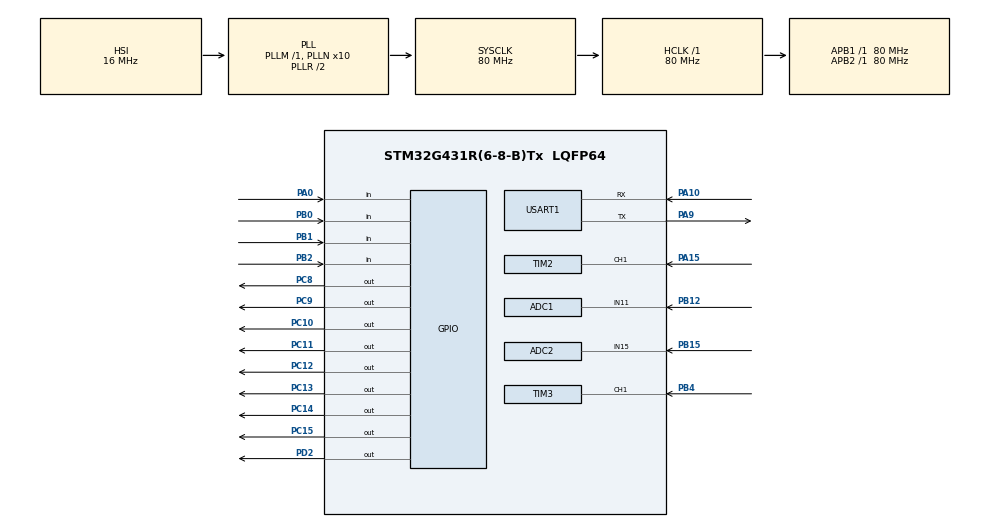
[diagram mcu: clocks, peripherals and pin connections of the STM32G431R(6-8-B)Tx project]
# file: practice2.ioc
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ADC1.Channel-0\#ChannelRegularConversion=ADC_CHANNEL_11
ADC1.NbrOfConversionFlag=1
ADC1.OffsetNumber-0\#ChannelRegularConversion=ADC_OFFSET_NONE
ADC1.Rank-0\#ChannelRegularConversion=1
ADC1.SamplingTime-0\#ChannelRegularConversion=ADC_SAMPLETIME_2CYCLES_5
ADC1.master=1
ADC2.Channel-0\#ChannelRegularConversion=ADC_CHANNEL_15
ADC2.NbrOfConversionFlag=1
ADC2.OffsetNumber-0\#ChannelRegularConversion=ADC_OFFSET_NONE
ADC2.Rank-0\#ChannelRegularConversion=1
ADC2.SamplingTime-0\#ChannelRegularConversion=ADC_SAMPLETIME_2CYCLES_5
Mcu.Family=STM32G4
Mcu.Name=STM32G431R(6-8-B)Tx
Mcu.Package=LQFP64
NVIC.PriorityGroup=NVIC_PRIORITYGROUP_4
NVIC.TIM1_UP_TIM16_IRQn=true\:0\:0\:false\:false\:true\:true\:true\:true
NVIC.TIM2_IRQn=true\:0\:0\:false\:false\:true\:true\:true\:true
NVIC.TIM3_IRQn=true\:0\:0\:false\:false\:true\:true\:true\:true
PA0.Signal=GPIO_Input
PA10.Mode=Asynchronous
PA10.Signal=USART1_RX
PA13.Mode=Serial_Wire
PA13.Signal=SYS_JTMS-SWDIO
PA14.Mode=Serial_Wire
PA14.Signal=SYS_JTCK-SWCLK
PA15.Signal=S_TIM2_CH1
PA9.Mode=Asynchronous
PA9.Signal=USART1_TX
PB0.Signal=GPIO_Input
PB1.Signal=GPIO_Input
PB12.Mode=IN11-Single-Ended
PB12.Signal=ADC1_IN11
PB15.Mode=IN15-Single-Ended
PB15.Signal=ADC2_IN15
PB2.Signal=GPIO_Input
PB4.Signal=S_TIM3_CH1
PC10.PinState=GPIO_PIN_SET
PC10.Signal=GPIO_Output
PC11.PinState=GPIO_PIN_SET
PC11.Signal=GPIO_Output
PC12.PinState=GPIO_PIN_SET
PC12.Signal=GPIO_Output
PC13.PinState=GPIO_PIN_SET
PC13.Signal=GPIO_Output
PC14-OSC32_IN.PinState=GPIO_PIN_SET
PC14-OSC32_IN.Signal=GPIO_Output
PC15-OSC32_OUT.PinState=GPIO_PIN_SET
PC15-OSC32_OUT.Signal=GPIO_Output
PC8.PinState=GPIO_PIN_SET
PC8.Signal=GPIO_Output
PC9.PinState=GPIO_PIN_SET
PC9.Signal=GPIO_Output
PD2.PinState=GPIO_PIN_SET
PD2.Signal=GPIO_Output
PF0-OSC_IN.Mode=HSE-External-Oscillator
PF0-OSC_IN.Signal=RCC_OSC_IN
PF1-OSC_OUT.Mode=HSE-External-Oscillator
PF1-OSC_OUT.Signal=RCC_OSC_OUT
ProjectManager.HeapSize=0x200
ProjectManager.StackSize=0x400
ProjectManager.TargetToolchain=MDK-ARM V5.32
RCC.ADC12Freq_Value=80000000
RCC.AHBFreq_Value=80000000
RCC.APB1Freq_Value=80000000
RCC.APB1TimFreq_Value=80000000
RCC.APB2Freq_Value=80000000
RCC.APB2TimFreq_Value=80000000
RCC.CortexFreq_Value=80000000
RCC.EXTERNAL_CLOCK_VALUE=12288000
RCC.HCLKFreq_Value=80000000
RCC.HSE_VALUE=24000000
RCC.HSI48_VALUE=48000000
RCC.HSI_VALUE=16000000
RCC.LSE_VALUE=32768
RCC.PLLN=10
RCC.SYSCLKFreq_VALUE=80000000
RCC.SYSCLKSource=RCC_SYSCLKSOURCE_PLLCLK
RCC.USBFreq_Value=80000000
RCC.VCOOutputFreq_Value=160000000
SH.S_TIM2_CH1.0=TIM2_CH1,Input_Capture1_from_TI1
SH.S_TIM3_CH1.0=TIM3_CH1,Input_Capture1_from_TI1
TIM16.PeriodNoDither=1000-1
TIM16.Prescaler=8000-1
TIM2.Channel-Input_Capture1_from_TI1=TIM_CHANNEL_1
TIM2.Prescaler=80-1
TIM3.Channel-Input_Capture1_from_TI1=TIM_CHANNEL_1
TIM3.Prescaler=80-1
USART1.VirtualMode-Asynchronous=VM_ASYNC
VP_SYS_VS_DBSignals.Mode=DisableDeadBatterySignals
VP_TIM16_VS_ClockSourceINT.Mode=Enable_Timer
VP_TIM2_VS_ClockSourceINT.Mode=Internal
VP_TIM3_VS_ClockSourceINT.Mode=Internal
board=custom

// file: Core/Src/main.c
/* USER CODE BEGIN Header */
/**
  ******************************************************************************
  * @file           : main.c
  * @brief          : Main program body
  ******************************************************************************
  * @attention
  *
  * Copyright (c) 2025 STMicroelectronics.
  * All rights reserved.
  *
  * This software is licensed under terms that can be found in the LICENSE file
  * in the root directory of this software component.
  * If no LICENSE file comes with this software, it is provided AS-IS.
  *
  ******************************************************************************
  */
/* USER CODE END Header */
#include "main.h"
#include "adc.h"
#include "tim.h"
#include "usart.h"
#include "gpio.h"

/* USER CODE BEGIN Includes */
#include "headfile.h"
/* USER CODE END Includes */

void SystemClock_Config(void);

int main(void)
{

  /* MCU Configuration--------------------------------------------------------*/

  /* Reset of all peripherals, Initializes the Flash interface and the Systick. */
  HAL_Init();

  /* Configure the system clock */
  SystemClock_Config();

  /* Initialize all configured peripherals */
  MX_GPIO_Init();
  MX_TIM16_Init();
  MX_TIM2_Init();
  MX_TIM3_Init();
  MX_ADC1_Init();
  MX_ADC2_Init();
  MX_USART1_UART_Init();
  /* USER CODE BEGIN 2 */
	HAL_TIM_Base_Start_IT(&htim16);
	HAL_GPIO_WritePin(GPIOD,GPIO_PIN_2,GPIO_PIN_RESET);
	HAL_TIM_IC_Start_IT(&htim2,TIM_CHANNEL_1);
	HAL_TIM_IC_Start_IT(&htim3,TIM_CHANNEL_1);
	LCD_Init();
	LCD_Clear(Black);
	LCD_SetBackColor(Black);
	LCD_SetTextColor(White);
	 draw_axes();
	eeprom_write(1,13);
	eeprom_write(2,1);

  /* USER CODE END 2 */

  /* Infinite loop */
  /* USER CODE BEGIN WHILE */
  while (1)
  {
        float raw_voltage = get_voltage();
        filtered_voltage = sliding_average_filter(raw_voltage);

        // 存储电压值用于绘图
        voltage_buffer[buffer_index] = filtered_voltage;

        // 更新显示
        display_voltage_info();
        draw_voltage_graph();
        key_scan();
        // 简单延时
        HAL_Delay(50);

    /* USER CODE END WHILE */

  }
}

void SystemClock_Config(void)
{
  RCC_OscInitTypeDef RCC_OscInitStruct = {0};
  RCC_ClkInitTypeDef RCC_ClkInitStruct = {0};

  /** Configure the main internal regulator output voltage
  */
  HAL_PWREx_ControlVoltageScaling(PWR_REGULATOR_VOLTAGE_SCALE1);

  /** Initializes the RCC Oscillators according to the specified parameters
  * in the RCC_OscInitTypeDef structure.
  */
  RCC_OscInitStruct.OscillatorType = RCC_OSCILLATORTYPE_HSI;
  RCC_OscInitStruct.HSIState = RCC_HSI_ON;
  RCC_OscInitStruct.HSICalibrationValue = RCC_HSICALIBRATION_DEFAULT;
  RCC_OscInitStruct.PLL.PLLState = RCC_PLL_ON;
  RCC_OscInitStruct.PLL.PLLSource = RCC_PLLSOURCE_HSI;
  RCC_OscInitStruct.PLL.PLLM = RCC_PLLM_DIV1;
  RCC_OscInitStruct.PLL.PLLN = 10;
  RCC_OscInitStruct.PLL.PLLP = RCC_PLLP_DIV2;
  RCC_OscInitStruct.PLL.PLLQ = RCC_PLLQ_DIV2;
  RCC_OscInitStruct.PLL.PLLR = RCC_PLLR_DIV2;
  if (HAL_RCC_OscConfig(&RCC_OscInitStruct) != HAL_OK)
  {
    Error_Handler();
  }

  /** Initializes the CPU, AHB and APB buses clocks
  */
  RCC_ClkInitStruct.ClockType = RCC_CLOCKTYPE_HCLK|RCC_CLOCKTYPE_SYSCLK
                              |RCC_CLOCKTYPE_PCLK1|RCC_CLOCKTYPE_PCLK2;
  RCC_ClkInitStruct.SYSCLKSource = RCC_SYSCLKSOURCE_PLLCLK;
  RCC_ClkInitStruct.AHBCLKDivider = RCC_SYSCLK_DIV1;
  RCC_ClkInitStruct.APB1CLKDivider = RCC_HCLK_DIV1;
  RCC_ClkInitStruct.APB2CLKDivider = RCC_HCLK_DIV1;

  if (HAL_RCC_ClockConfig(&RCC_ClkInitStruct, FLASH_LATENCY_2) != HAL_OK)
  {
    Error_Handler();
  }
}

void Error_Handler(void)
{
  __disable_irq();
  while (1)
  {
  }
}
